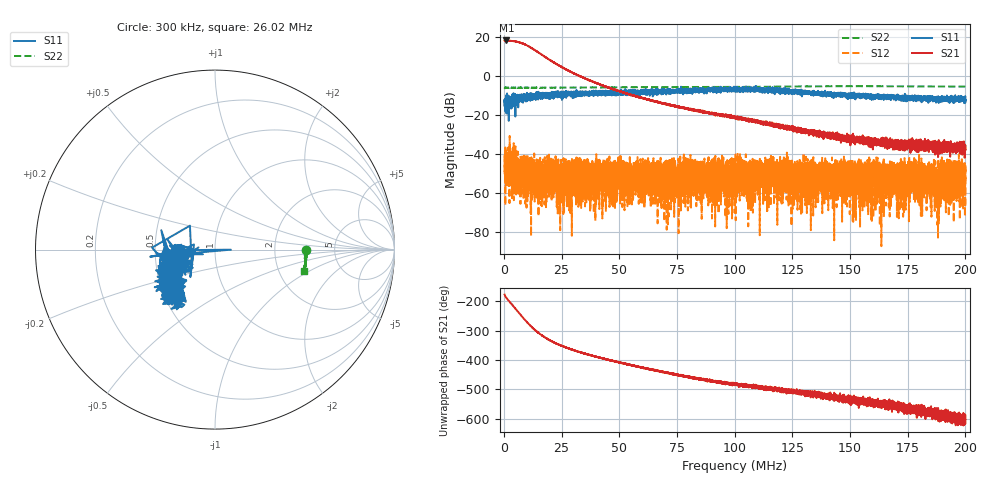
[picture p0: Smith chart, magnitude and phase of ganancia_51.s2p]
# Hz S DB R 50
! CMT, M5065, 19127446, 24.2.4/2
! Date: 11/8/2024 5:23:00 PM
! Data: Format (Calibration Info)
! Freq	S11:dB/Ang(F2)	S21:dB/Ang(F2)	S12:dB/Ang(F2)	S22:dB/Ang(F2)
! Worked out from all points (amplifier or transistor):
!   9000 points, 300 kHz to 200 MHz, reference 50 ohm
!   highest |S21| = 18.4 dB at 1.077 MHz (marker M1)
!   |S21| within 3 dB of that: start of sweep to 10.69 MHz
!   unconditionally stable (mu >= 1): start of sweep to end of sweep
!   at 33.59 MHz: K = 65.15, MAG = 1.7 dB, |S12| = -46.0 dB
!   at 100.2 MHz: K = 1082.96, MAG = -18.3 dB, |S12| = -50.9 dB
!   at 200 MHz: K = 10783.12, MAG = -35.8 dB, |S12| = -52.7 dB
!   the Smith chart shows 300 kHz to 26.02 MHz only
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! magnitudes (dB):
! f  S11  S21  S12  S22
! 300 kHz  -13.1  18.3  -49.1  -5.9
! 1.077 MHz  -14.6  18.4  -56.0  -5.9
! 15.86 MHz  -9.6  11.5  -51.7  -5.9
! 21.83 MHz  -8.9  7.0  -45.4  -5.8
! 25.07 MHz  -10.8  4.6  -46.3  -5.8
! 30.46 MHz  -9.8  1.4  -51.5  -5.8
! 33.59 MHz  -8.6  -0.2  -46.0  -5.8
! 66.87 MHz  -8.0  -13.3  -51.8  -5.5
! 80.9 MHz  -7.1  -16.8  -63.2  -5.5
! 100.2 MHz  -6.9  -20.7  -50.9  -5.4
! 115.9 MHz  -7.5  -24.6  -44.8  -5.3
! 119.4 MHz  -7.5  -25.5  -60.5  -5.3
! 121.9 MHz  -7.1  -26.4  -42.6  -5.3
! 124.9 MHz  -7.2  -25.5  -55.3  -5.2
! 133.4 MHz  -8.9  -28.8  -48.4  -5.2
! 166.7 MHz  -9.7  -34.3  -59.1  -5.1
! 185.7 MHz  -11.4  -35.4  -48.9  -5.2
! 187.6 MHz  -12.0  -35.2  -48.0  -5.2
! 191.3 MHz  -11.7  -35.6  -47.2  -5.3
! 193.4 MHz  -12.1  -41.3  -66.0  -5.3
! 196.3 MHz  -12.1  -37.3  -49.2  -5.2
! 200 MHz  -12.2  -37.6  -52.7  -5.3
